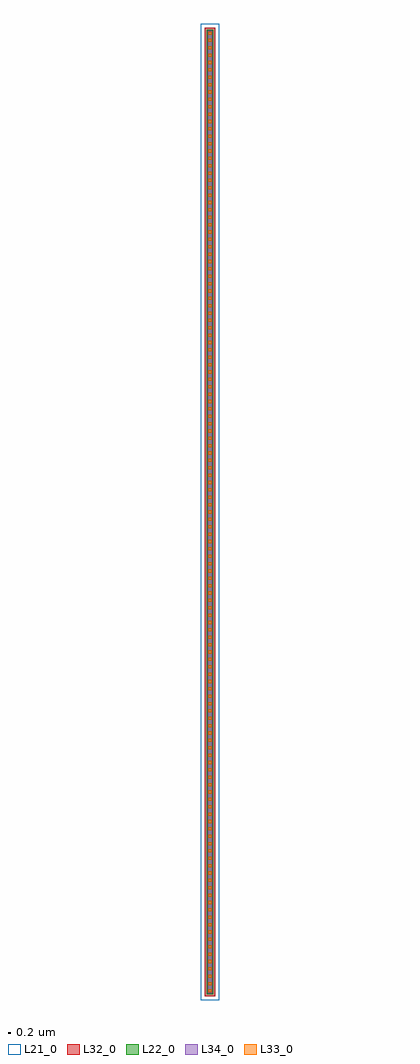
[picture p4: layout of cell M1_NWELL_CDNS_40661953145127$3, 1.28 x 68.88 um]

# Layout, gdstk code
import gdstk
lib = gdstk.Library(unit=1e-6, precision=1e-09)
def R(c, l, rs):  # rectangles x0, y0, x1, y1
    for r in rs: c.add(gdstk.rectangle(r[:2], r[2:], *l))
def A(c, l, x, y, w, h, nx, ny, dx, dy):  # array of equal rectangles
    R(c, l, [(x+i*dx, y+j*dy, x+i*dx+w, y+j*dy+h) for i in range(nx) for j in range(ny)])
L21_0 = (21, 0)
L22_0 = (22, 0)
L32_0 = (32, 0)
L33_0 = (33, 0)
L34_0 = (34, 0)

m1_nwell_cdns_4066195314 = lib.new_cell('M1_NWELL_CDNS_40661953145127$3')
R(m1_nwell_cdns_4066195314, L21_0, [(-0.64,-34.44,0.64,34.44)])
R(m1_nwell_cdns_4066195314, L22_0, [(-0.225,-34.025,0.225,34.025)])
R(m1_nwell_cdns_4066195314, L32_0, [(-0.385,-34.185,0.385,34.185)])
A(m1_nwell_cdns_4066195314, L33_0, -0.11, -33.91, 0.22, 0.22, 1, 131, 0, 0.52)
R(m1_nwell_cdns_4066195314, L34_0, [(-0.17,-33.97,0.17,33.97)])

lib.write_gds('M1_NWELL_CDNS_40661953145127_3.gds')
